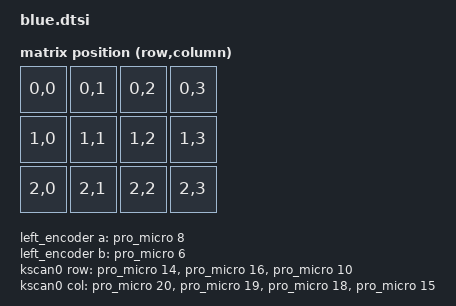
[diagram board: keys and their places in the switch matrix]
/*
 * Copyright (c) 2020 The ZMK Contributors
 *
 * SPDX-License-Identifier: MIT
 */

#include <dt-bindings/zmk/matrix_transform.h>
#include <physical_layouts.dtsi>

/ {
    chosen {
        zmk,kscan = &kscan0;
        zmk,matrix-transform = &default_transform;
    };

    left_encoder: encoder_left {
        compatible = "alps,ec11";
        a-gpios = <&pro_micro 8 (GPIO_ACTIVE_HIGH | GPIO_PULL_UP)>;
        b-gpios = <&pro_micro 6 (GPIO_ACTIVE_HIGH | GPIO_PULL_UP)>;
        steps = <20>;
        status = "okay";
    };

    sensors: sensors {
        compatible = "zmk,keymap-sensors";
        sensors = <&left_encoder>;
        triggers-per-rotation = <10>;
    };

    default_transform: keymap_transform_0 {
        compatible = "zmk,matrix-transform";
        columns = <4>;
        rows = <3>;

        map = <
            RC(0,0) RC(0,1) RC(0,2) RC(0,3) 
            RC(1,0) RC(1,1) RC(1,2) RC(1,3)
            RC(2,0) RC(2,1) RC(2,2) RC(2,3)
        >;
  };

    kscan0: kscan {
        compatible = "zmk,kscan-gpio-matrix";
        wakeup-source;

        diode-direction = "col2row";

        row-gpios
            = <&pro_micro 14 (GPIO_ACTIVE_HIGH | GPIO_PULL_DOWN)>
            , <&pro_micro 16 (GPIO_ACTIVE_HIGH | GPIO_PULL_DOWN)>
            , <&pro_micro 10 (GPIO_ACTIVE_HIGH | GPIO_PULL_DOWN)>
            ;

        col-gpios
            = <&pro_micro 20 (GPIO_ACTIVE_HIGH | GPIO_PULL_DOWN)>
            , <&pro_micro 19 (GPIO_ACTIVE_HIGH | GPIO_PULL_DOWN)>
            , <&pro_micro 18 (GPIO_ACTIVE_HIGH | GPIO_PULL_DOWN)>
            , <&pro_micro 15 (GPIO_ACTIVE_HIGH | GPIO_PULL_DOWN)>
            ;
    };

    default_layout: default_layout {
        compatible = "zmk,physical-layout";
        display-name = "Default Layout";
        transform = <&default_transform>;
        kscan = <&kscan0>;
        keys  //                     w   h    x    y     rot    rx    ry
            = <&key_physical_attrs 100 100    0    0       0     0     0>
            , <&key_physical_attrs 100 100  100    0       0     0     0>
            , <&key_physical_attrs 100 100  200    0       0     0     0>
            , <&key_physical_attrs 100 100  300    0       0     0     0>
            , <&key_physical_attrs 100 100    0  100       0     0     0>
            , <&key_physical_attrs 100 100  100  100       0     0     0>
            , <&key_physical_attrs 100 100  200  100       0     0     0>
            , <&key_physical_attrs 100 100  300  100       0     0     0>
            , <&key_physical_attrs 100 100    0  200       0     0     0>
            , <&key_physical_attrs 100 100  100  200       0     0     0>
            , <&key_physical_attrs 100 100  200  200       0     0     0>
            , <&key_physical_attrs 100 100  300  200       0     0     0>

            ;
    };

    keypad_position_map {
        compatible = "zmk,physical-layout-position-map";
        complete; 
        
        macropad_map: macropad {
            physical-layout = <&default_layout>;
            positions
                = < 0  1  2  3>
                , < 4  5  6  7>
                , < 8  9 10 11>;
        };
    };
};

